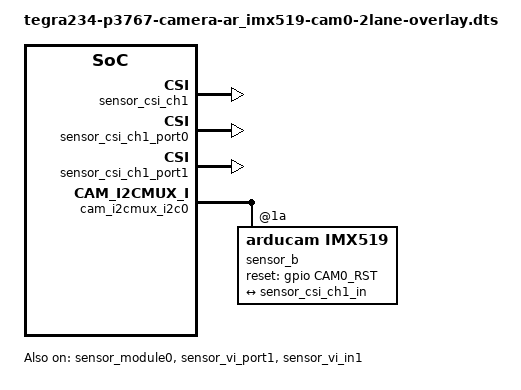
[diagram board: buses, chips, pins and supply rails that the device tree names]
// SPDX-License-Identifier: GPL-2.0
/*
 *
 * tegra234-p3767-camera-ar_imx519-cam0-2lane-overlay.dts - IMX519 sensor device tree
 */

/dts-v1/;
/plugin/;

#include <dt-bindings/gpio/tegra234-gpio.h>
#include <dt-bindings/tegra234-p3767-0000-common.h>

#define CAM0_RST	TEGRA234_MAIN_GPIO(H, 6)

/ {
	overlay-name = "Arducam IMX519 CAM0 2Lane";
	jetson-header-name = "Jetson 24pin CSI Connector";
	compatible = JETSON_COMPATIBLE_P3768;

	fragment@0 {
		target = <&sensor_module0>;
		__overlay__ {
			status = "okay";
			badge = "jakku_front_arducam";
			drivernode0 {
				status = "okay";
				/* Declare PCL support driver (classically known as guid) */
				devname = "imx519 10-001a";
				/* Declare the device-tree hierarchy to driver instance */
				sysfs-device-tree = "/sys/firmware/devicetree/base/bus@0/cam_i2cmux/i2c@0/arducam_imx519_a@1a";
			};
		};
	};

	fragment@1 {
		target = <&sensor_vi_port1>;
		__overlay__ {
			status = "okay";
		};
	};

	fragment@2 {
		target = <&sensor_vi_in1>;
		__overlay__ {
			status = "okay";
			bus-width = <2>;
		};
	};

	fragment@3 {
		target = <&sensor_csi_ch1>;
		__overlay__ {
			status = "okay";
			ports {
				status = "okay";
			};
		};
	};

	fragment@4 {
		target = <&sensor_csi_ch1_port0>;
		__overlay__ {
			status = "okay";
		};
	};

	fragment@5 {
		target = <&sensor_csi_ch1_in>;
		__overlay__ {
			status = "okay";
			bus-width = <2>;
			remote-endpoint = <&sensor_out_b>;
		};
	};

	fragment@6 {
		target = <&sensor_csi_ch1_port1>;
		__overlay__ {
			status = "okay";
		};
	};

	fragment@7 {
		target = <&sensor_csi_ch1_out>;
		__overlay__ {
			status = "okay";
		};
	};

	fragment@8 {
		target = <&cam_i2cmux_i2c0>;
		__overlay__ {
			sensor_b: arducam_imx519_a@1a {
				reset-gpios = <&gpio CAM0_RST GPIO_ACTIVE_HIGH>;
				compatible = "arducam,imx519";
				reg = <0x1a>;
				devnode = "video0";
				physical_w = "3.680";
				physical_h = "2.760";
				sensor_model = "imx519";

				use_sensor_mode_id = "false";

				mode0 { /* IMX519_MODE_4656x3496 */
					mclk_khz = "24000";
					num_lanes = "2";
					tegra_sinterface = "serial_b";
					phy_mode = "DPHY";
					discontinuous_clk = "no";
					dpcm_enable = "false";
					cil_settletime = "0";
					lane_polarity = "6";
					active_w = "4656";
					active_h = "3496";
					mode_type = "bayer";
					pixel_phase = "rggb";
					csi_pixel_bit_depth = "10";
					readout_orientation = "90";
					line_length = "12650";
					inherent_gain = "1";
					mclk_multiplier = "80";
					pix_clk_hz = "300000000";
					gain_factor = "16";
					framerate_factor = "1000000";
					exposure_factor = "1000000";
					min_gain_val = "16"; /* 1.00x */
					max_gain_val = "256"; /* 22x */
					step_gain_val = "1";
					default_gain = "16"; /* 1.00x */
					min_hdr_ratio = "1";
					max_hdr_ratio = "1";
					min_framerate = "2000000"; /* 2.0 fps */
					max_framerate = "9000000"; /* 9.0 fps */
					step_framerate = "1";
					default_framerate = "9000000"; /* 9.0 fps */
					min_exp_time = "13"; /* us */
					max_exp_time = "683709"; /* us */
					step_exp_time = "1";
					default_exp_time = "2495"; /* us */
					embedded_metadata_height = "2";
				};
				mode1 { /* IMX519_MODE_3840x2160 */
					mclk_khz = "24000";
					num_lanes = "2";
					tegra_sinterface = "serial_b";
					phy_mode = "DPHY";
					discontinuous_clk = "no";
					dpcm_enable = "false";
					cil_settletime = "0";
					lane_polarity = "6";
					active_w = "3840";
					active_h = "2160";
					mode_type = "bayer";
					pixel_phase = "rggb";
					csi_pixel_bit_depth = "10";
					readout_orientation = "90";
					line_length = "10486";
					inherent_gain = "1";
					mclk_multiplier = "80";
					pix_clk_hz = "300000000";
					gain_factor = "16";
					framerate_factor = "1000000";
					exposure_factor = "1000000";
					min_gain_val = "16"; /* 1.00x */
					max_gain_val = "256"; /* 22x */
					step_gain_val = "1";
					default_gain = "16"; /* 1.00x */
					min_hdr_ratio = "1";
					max_hdr_ratio = "1";
					min_framerate = "2000000"; /* 2.0 fps */
					max_framerate = "17000000"; /* 17.0 fps */
					step_framerate = "1";
					default_framerate = "17000000"; /* 17.0 fps */
					min_exp_time = "13"; /* us */
					max_exp_time = "683709"; /* us */
					step_exp_time = "1";
					default_exp_time = "2495"; /* us */
					embedded_metadata_height = "2";
				};
				mode2 { /* IMX519_MODE_1920X1080 */
					mclk_khz = "24000";
					num_lanes = "2";
					tegra_sinterface = "serial_b";
					phy_mode = "DPHY";
					discontinuous_clk = "no";
					dpcm_enable = "false";
					cil_settletime = "0";
					lane_polarity = "6";
					active_w = "1920";
					active_h = "1080";
					mode_type = "bayer";
					pixel_phase = "rggb";
					csi_pixel_bit_depth = "10";
					readout_orientation = "90";
					line_length = "6027";
					inherent_gain = "1";
					mclk_multiplier = "80";
					pix_clk_hz = "300000000";
					gain_factor = "16";
					framerate_factor = "1000000";
					exposure_factor = "1000000";
					min_gain_val = "16"; /* 1.00x */
					max_gain_val = "256"; /* 22x */
					step_gain_val = "1";
					default_gain = "16"; /* 1.00x */
					min_hdr_ratio = "1";
					max_hdr_ratio = "1";
					min_framerate = "2000000"; /* 2.0 fps */
					max_framerate = "60000000"; /* 60.0 fps */
					step_framerate = "1";
					default_framerate = "60000000"; /* 60.0 fps */
					min_exp_time = "13"; /* us */
					max_exp_time = "683709"; /* us */
					step_exp_time = "1";
					default_exp_time = "2495"; /* us */
					embedded_metadata_height = "2";
				};
				mode3 { /* IMX519_MODE_1280x720 */
					mclk_khz = "24000";
					num_lanes = "2";
					tegra_sinterface = "serial_b";
					phy_mode = "DPHY";
					discontinuous_clk = "no";
					dpcm_enable = "false";
					cil_settletime = "0";
					lane_polarity = "6";
					active_w = "1280";
					active_h = "720";
					mode_type = "bayer";
					pixel_phase = "rggb";
					csi_pixel_bit_depth = "10";
					readout_orientation = "90";
					line_length = "4336";
					inherent_gain = "1";
					mclk_multiplier = "80";
					pix_clk_hz = "300000000";
					gain_factor = "16";
					framerate_factor = "1000000";
					exposure_factor = "1000000";
					min_gain_val = "16"; /* 1.00x */
					max_gain_val = "256"; /* 22x */
					step_gain_val = "1";
					default_gain = "16"; /* 1.00x */
					min_hdr_ratio = "1";
					max_hdr_ratio = "1";
					min_framerate = "2000000"; /* 2.0 fps */
					max_framerate = "120000000"; /* 120.0 fps */
					step_framerate = "1";
					default_framerate = "120000000"; /* 120.0 fps */
					min_exp_time = "13"; /* us */
					max_exp_time = "683709"; /* us */
					step_exp_time = "1";
					default_exp_time = "2495"; /* us */
					embedded_metadata_height = "2";
				};
				ports {
					#address-cells = <1>;
					#size-cells = <0>;
					port@0 {
						reg = <0>;
						sensor_out_b: endpoint {
							vc-id = <0>;
							port-index = <1>;
							bus-width = <2>;
							remote-endpoint = <&sensor_csi_ch1_in>;
						};
					};
				};
			};
		};
	};
};
